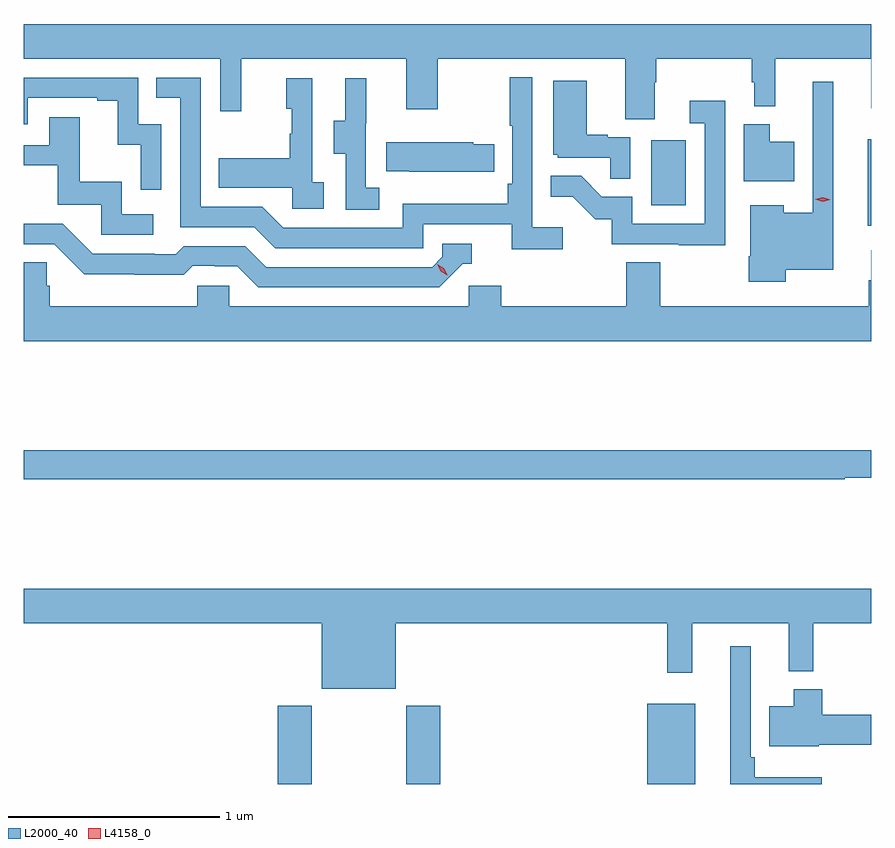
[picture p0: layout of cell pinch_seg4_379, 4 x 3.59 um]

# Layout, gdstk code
import gdstk
lib = gdstk.Library(unit=1e-6, precision=1e-09)
def R(c, l, rs):  # rectangles x0, y0, x1, y1
    for r in rs: c.add(gdstk.rectangle(r[:2], r[2:], *l))
def P(c, l, *ps):  # polygons
    for p in ps: c.add(gdstk.Polygon(p, *l))
L2000_40 = (2000, 40)
L4158_0 = (4158, 0)

pinch_seg4_379 = lib.new_cell('pinch_seg4_379')
R(pinch_seg4_379, L2000_40, [(989.219,776.082,989.379,776.452), (989.824,776.082,989.984,776.452), (990.962,776.082,991.189,776.461), (992.003,778.715,992.019,779.125), (990.98,778.812,991.144,779.119)])
P(pinch_seg4_379, L2000_40, [(988.019,779.504),(988.947,779.504),(988.947,779.256),(989.045,779.256),(989.045,779.504),(989.825,779.504),(989.825,779.265),(989.973,779.265),(989.973,779.504),(990.857,779.504),(990.857,779.218),(990.997,779.218),(990.997,779.392),(991.005,779.392),(991.005,779.504),(991.455,779.504),(991.455,779.392),(991.466,779.392),(991.466,779.279),(991.565,779.279),(991.565,779.504),(992.018,779.504),(992.018,779.271),(992.019,779.271),(992.019,779.668),(988.019,779.668)],
  [(990.562,778.708),(990.42,778.708),(990.42,779.416),(990.312,779.416),(990.312,779.188),(990.324,779.188),(990.324,778.915),(990.304,778.915),(990.304,778.819),(989.808,778.819),(989.808,778.707),(989.244,778.707),(989.145,778.806),(988.854,778.806),(988.854,779.415),(988.645,779.415),(988.645,779.319),(988.758,779.319),(988.758,778.71),(989.108,778.71),(989.207,778.611),(989.904,778.611),(989.904,778.722),(990.323,778.722),(990.323,778.606),(990.562,778.606)],
  [(988.668,779.196),(988.56,779.196),(988.56,779.415),(988.019,779.415),(988.019,779.196),(988.038,779.196),(988.038,779.319),(988.367,779.319),(988.367,779.307),(988.463,779.307),(988.463,779.099),(988.572,779.099),(988.572,778.887),(988.668,778.887)],
  [(989.698,778.895),(989.634,778.895),(989.634,779.199),(989.636,779.199),(989.636,779.413),(989.537,779.413),(989.537,779.211),(989.483,779.211),(989.483,779.056),(989.538,779.056),(989.538,778.792),(989.698,778.792)],
  [(989.434,778.922),(989.382,778.922),(989.382,779.413),(989.258,779.413),(989.258,779.268),(989.284,779.268),(989.284,779.15),(989.274,779.15),(989.274,779.035),(988.939,779.035),(988.939,778.895),(989.286,778.895),(989.286,778.797),(989.434,778.797)],
  [(990.882,779.133),(990.776,779.133),(990.776,779.146),(990.676,779.146),(990.676,779.401),(990.518,779.401),(990.518,779.052),(990.54,779.052),(990.54,779.037),(990.787,779.037),(990.787,778.939),(990.882,778.939)],
  [(991.614,778.508),(991.84,778.508),(991.84,779.395),(991.743,779.395),(991.743,778.777),(991.606,778.777),(991.606,778.813),(991.448,778.813),(991.448,778.573),(991.441,778.573),(991.441,778.451),(991.614,778.451)],
  [(991.329,779.305),(991.161,779.305),(991.161,779.199),(991.233,779.199),(991.233,778.725),(990.891,778.725),(990.891,778.854),(990.747,778.854),(990.649,778.952),(990.505,778.952),(990.505,778.853),(990.609,778.853),(990.716,778.746),(990.793,778.746),(990.793,778.629),(991.111,778.629),(991.111,778.624),(991.329,778.624)],
  [(988.63,778.77),(988.482,778.77),(988.482,778.924),(988.283,778.924),(988.283,779.227),(988.139,779.227),(988.139,779.097),(988.019,779.097),(988.019,779.001),(988.181,779.001),(988.181,778.815),(988.386,778.815),(988.386,778.674),(988.63,778.674)],
  [(991.654,779.113),(991.54,779.113),(991.54,779.194),(991.418,779.194),(991.418,778.925),(991.654,778.925)],
  [(990.239,779.1),(990.141,779.1),(990.141,779.11),(989.731,779.11),(989.731,778.973),(989.839,778.973),(989.839,778.97),(990.239,778.97)],
  [(990.09,778.536),(990.133,778.536),(990.133,778.632),(989.994,778.632),(989.994,778.569),(989.946,778.521),(989.163,778.521),(989.064,778.62),(988.775,778.62),(988.736,778.581),(988.637,778.581),(988.637,778.584),(988.344,778.584),(988.203,778.725),(988.019,778.725),(988.019,778.629),(988.164,778.629),(988.306,778.487),(988.542,778.487),(988.542,778.485),(988.775,778.485),(988.817,778.527),(988.92,778.527),(988.92,778.524),(989.027,778.524),(989.126,778.425),(989.979,778.425)],
  [(992.019,778.6),(992.018,778.6),(992.018,778.46),(992.007,778.46),(992.007,778.336),(991.023,778.336),(991.023,778.544),(990.863,778.544),(990.863,778.336),(990.272,778.336),(990.272,778.434),(990.12,778.434),(990.12,778.336),(988.989,778.336),(988.989,778.434),(988.839,778.434),(988.839,778.336),(988.142,778.336),(988.142,778.434),(988.127,778.434),(988.127,778.544),(988.019,778.544),(988.019,778.172),(992.019,778.172)],
  [(991.894,777.528),(992.019,777.528),(992.019,777.656),(988.019,777.656),(988.019,777.52),(991.894,777.52)],
  [(989.776,776.84),(991.057,776.84),(991.057,776.607),(991.175,776.607),(991.175,776.84),(991.628,776.84),(991.628,776.615),(991.745,776.615),(991.745,776.84),(992.019,776.84),(992.019,777.004),(988.019,777.004),(988.019,776.84),(989.426,776.84),(989.426,776.531),(989.776,776.531)],
  [(991.786,776.113),(991.469,776.113),(991.469,776.209),(991.449,776.209),(991.449,776.731),(991.352,776.731),(991.352,776.082),(991.786,776.082)],
  [(991.77,776.267),(992.019,776.267),(992.019,776.409),(991.787,776.409),(991.787,776.53),(991.652,776.53),(991.652,776.449),(991.538,776.449),(991.538,776.261),(991.77,776.261)])
P(pinch_seg4_379, L4158_0, [(990.017,778.483),(989.986,778.502),(989.97,778.535),(989.97,778.535),(989.97,778.535),(990.001,778.516),(990.018,778.484),(990.018,778.483)],
  [(991.789,778.83),(991.754,778.842),(991.753,778.842),(991.754,778.842),(991.79,778.85),(991.825,778.839),(991.825,778.838),(991.825,778.838)])

lib.write_gds('pinch_seg4_379.gds')
